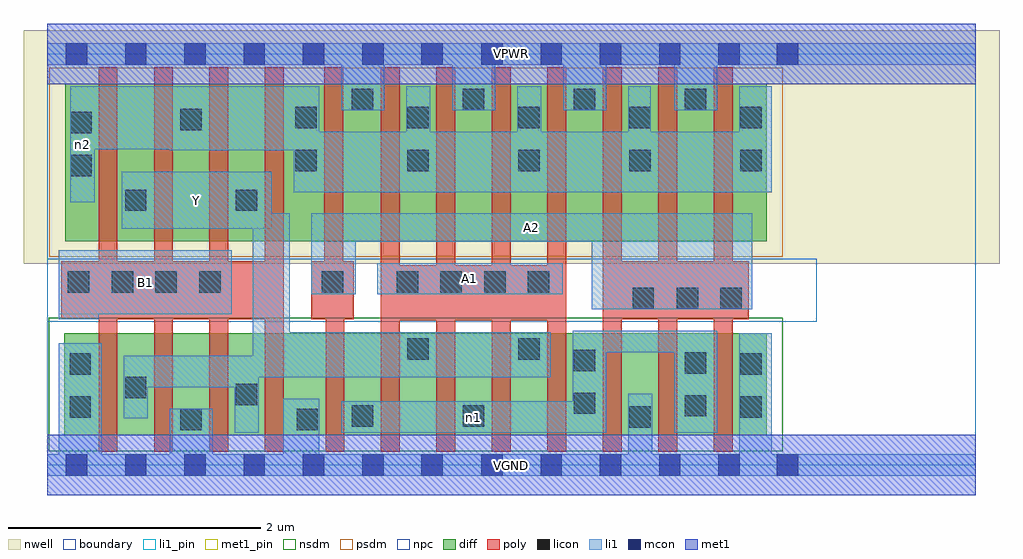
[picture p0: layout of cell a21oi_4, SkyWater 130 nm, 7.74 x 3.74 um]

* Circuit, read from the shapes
.subckt a21oi_4 A1 A2 B1 VGND VPWR Y n1 n2
XM1 Y B1 VGND VSUBS sky130_fd_pr__nfet_01v8 w=0.81 l=0.15 m=4
XM2 n1 A2 VGND VSUBS sky130_fd_pr__nfet_01v8 w=0.81 l=0.15 m=4
XM3 Y A1 n1 VSUBS sky130_fd_pr__nfet_01v8 w=0.81 l=0.15 m=4
XM4 Y B1 n2 n3 sky130_fd_pr__pfet_01v8 w=1.25 l=0.15 m=4
XM5 VPWR A2 n2 n3 sky130_fd_pr__pfet_01v8 w=1.25 l=0.15 m=4
XM6 n2 A1 VPWR n3 sky130_fd_pr__pfet_01v8 w=1.25 l=0.15 m=4
.ends

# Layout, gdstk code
import gdstk
lib = gdstk.Library(unit=1e-6, precision=1e-09)
def R(c, l, rs):  # rectangles x0, y0, x1, y1
    for r in rs: c.add(gdstk.rectangle(r[:2], r[2:], *l))
def A(c, l, x, y, w, h, nx, ny, dx, dy):  # array of equal rectangles
    R(c, l, [(x+i*dx, y+j*dy, x+i*dx+w, y+j*dy+h) for i in range(nx) for j in range(ny)])
nwell = (64, 20)
diff = (65, 20)
poly = (66, 20)
licon = (66, 44)
li1_pin = (67, 16)
li1 = (67, 20)
mcon = (67, 44)
met1_pin = (68, 16)
met1 = (68, 20)
nsdm = (93, 44)
psdm = (94, 20)
npc = (95, 20)
boundary = (235, 4)

a21oi_4 = lib.new_cell('a21oi_4')
R(a21oi_4, nwell, [(-0.19,1.595,7.55,3.45), (0,1.595,7.36,3.45)])
R(a21oi_4, diff, [(0.135,0.235,5.705,1.045), (0.14,1.775,5.705,3.025)])
A(a21oi_4, poly, 0.405, 0.105, 0.15, 3.05, 4, 1, 0.44, 0)
A(a21oi_4, poly, 2.645, 0.105, 0.15, 3.05, 7, 1, 0.44, 0)
R(a21oi_4, poly, [(2.205,0.105,2.355,1.615), (2.645,1.15,4.115,1.585), (0.11,1.155,1.875,1.615), (2.09,1.155,2.43,1.615), (2.195,1.155,2.345,3.155), (4.405,1.155,5.56,1.615)])
A(a21oi_4, licon, 2.855, 2.33, 0.17, 0.17, 4, 2, 0.88, 0.34)
A(a21oi_4, licon, 2.415, 2.815, 0.17, 0.17, 4, 1, 0.88, 0)
R(a21oi_4, licon, [(1.055,0.275,1.225,0.445), (1.975,0.275,2.145,0.445), (4.615,0.295,4.785,0.465), (2.415,0.305,2.585,0.475), (3.295,0.305,3.465,0.475), (0.175,0.375,0.345,0.545), (5.495,0.375,5.665,0.545), (5.055,0.385,5.225,0.555), (4.175,0.405,4.345,0.575), (1.495,0.475,1.665,0.645), (0.615,0.53,0.785,0.7), (0.175,0.715,0.345,0.885), (5.495,0.715,5.665,0.885), (5.055,0.725,5.225,0.895), (4.175,0.745,4.345,0.915), (2.855,0.835,3.025,1.005), (3.735,0.835,3.905,1.005), (4.64,1.235,4.81,1.405), (4.99,1.235,5.16,1.405), (5.335,1.235,5.505,1.405), (0.16,1.365,0.33,1.535), (0.51,1.365,0.68,1.535), (0.855,1.365,1.025,1.535), (1.205,1.365,1.375,1.535), (2.175,1.365,2.345,1.535), (2.77,1.365,2.94,1.535), (3.115,1.365,3.285,1.535), (3.465,1.365,3.635,1.535), (3.81,1.365,3.98,1.535), (0.615,2.015,0.785,2.185), (1.495,2.015,1.665,2.185), (0.18,2.29,0.35,2.46), (1.965,2.33,2.135,2.5), (0.18,2.63,0.35,2.8), (1.055,2.655,1.225,2.825), (1.965,2.67,2.135,2.84)])
R(a21oi_4, li1_pin, [(0.09,1.195,1.46,1.705), (2.615,1.355,4.085,1.6), (2.09,1.77,5.59,1.995), (0.59,1.875,1.78,2.325)])
A(a21oi_4, li1, 2.33, 2.815, 0.34, 0.53, 4, 1, 0.88, 0)
R(a21oi_4, li1, [(0,-0.085,7.36,0.085), (0.09,-0.085,0.43,0.965), (0.97,-0.085,1.31,0.445), (1.87,-0.085,2.155,0.525), (4.605,-0.085,4.795,0.565), (5.485,-0.085,5.745,1.045), (1.485,0.255,1.675,0.865), (2.33,0.255,4.43,0.505), (4.165,0.255,4.43,1.065), (4.97,0.255,5.31,1.065), (0.605,0.37,0.795,0.865), (0.605,0.615,1.675,0.865), (1.63,0.695,3.99,1.055), (2.32,0.835,3.99,1.055), (4.165,0.895,5.31,1.065), (1.63,1.055,1.92,1.995), (0.09,1.155,0.405,1.705), (0.09,1.195,1.46,1.705), (4.315,1.235,5.59,1.995), (2.09,1.355,2.445,1.995), (2.615,1.355,4.085,1.6), (2.09,1.77,5.59,1.995), (0.59,1.875,1.78,2.325), (0.18,2.085,0.375,3.005), (1.955,2.165,5.745,2.645), (1.955,2.165,2.155,3.005), (2.845,2.165,3.035,3.005), (3.725,2.165,3.915,3.005), (4.605,2.165,4.785,3.005), (5.485,2.165,5.745,3.005), (0.97,2.495,2.155,3.005), (0.18,2.505,2.155,3.005), (0,3.175,7.36,3.345)])
A(a21oi_4, mcon, 0.145, -0.085, 0.17, 0.17, 7, 2, 0.47, 3.26)
A(a21oi_4, mcon, 3.44, -0.085, 0.17, 0.17, 5, 2, 0.47, 3.26)
R(a21oi_4, mcon, [(5.785,-0.085,5.955,0.085), (5.785,3.175,5.955,3.345)])
R(a21oi_4, met1_pin, [(0,-0.24,7.36,0.24), (0,3.02,7.36,3.5)])
R(a21oi_4, met1, [(0,-0.24,7.36,0.24), (0,3.02,7.36,3.5)])
R(a21oi_4, nsdm, [(0.01,0.11,5.83,1.17)])
R(a21oi_4, psdm, [(0.015,1.65,5.83,3.15)])
R(a21oi_4, npc, [(0,1.135,6.1,1.635)])
R(a21oi_4, boundary, [(0,0,7.36,3.26)])
a21oi_4.add(gdstk.Label('A1', (3.35,1.477), layer=67, texttype=5))
a21oi_4.add(gdstk.Label('A2', (3.84,1.882), layer=67, texttype=5))
a21oi_4.add(gdstk.Label('B1', (0.775,1.45), layer=67, texttype=5))
a21oi_4.add(gdstk.Label('Y', (1.185,2.1), layer=67, texttype=5))
a21oi_4.add(gdstk.Label('n1', (3.38,0.38), layer=67, texttype=5))
a21oi_4.add(gdstk.Label('n2', (0.277,2.545), layer=67, texttype=5))
a21oi_4.add(gdstk.Label('VPWR', (3.68,3.26), layer=68, texttype=5))
a21oi_4.add(gdstk.Label('VGND', (3.68,0), layer=68, texttype=5))
a21oi_4.add(gdstk.Label('A1', (3.35,1.477), layer=67, texttype=16))
a21oi_4.add(gdstk.Label('A2', (3.84,1.882), layer=67, texttype=16))
a21oi_4.add(gdstk.Label('B1', (0.775,1.45), layer=67, texttype=16))
a21oi_4.add(gdstk.Label('Y', (1.185,2.1), layer=67, texttype=16))
a21oi_4.add(gdstk.Label('VPWR', (3.68,3.26), layer=68, texttype=16))
a21oi_4.add(gdstk.Label('VGND', (3.68,0), layer=68, texttype=16))

lib.write_gds('a21oi_4.gds')
